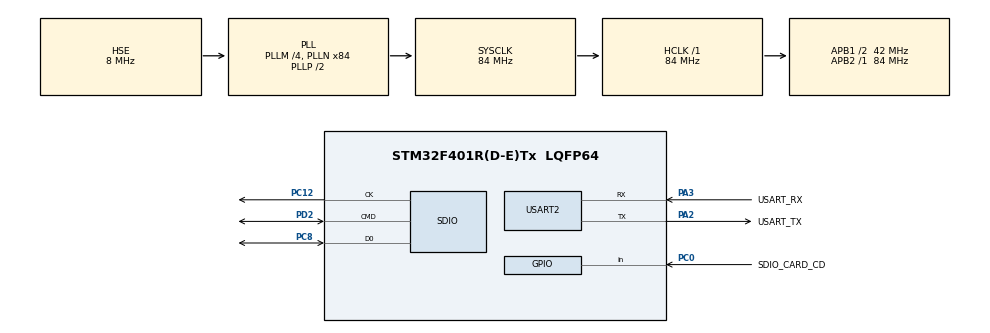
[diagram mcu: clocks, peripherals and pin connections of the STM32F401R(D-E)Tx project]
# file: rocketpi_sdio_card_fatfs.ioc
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Dma.Request0=SDIO_RX
Dma.Request1=SDIO_TX
Dma.SDIO_RX.0.Direction=DMA_PERIPH_TO_MEMORY
Dma.SDIO_RX.0.FIFOMode=DMA_FIFOMODE_ENABLE
Dma.SDIO_RX.0.FIFOThreshold=DMA_FIFO_THRESHOLD_FULL
Dma.SDIO_RX.0.Instance=DMA2_Stream3
Dma.SDIO_RX.0.MemBurst=DMA_MBURST_INC4
Dma.SDIO_RX.0.MemDataAlignment=DMA_MDATAALIGN_WORD
Dma.SDIO_RX.0.MemInc=DMA_MINC_ENABLE
Dma.SDIO_RX.0.Mode=DMA_PFCTRL
Dma.SDIO_RX.0.PeriphBurst=DMA_PBURST_INC4
Dma.SDIO_RX.0.PeriphDataAlignment=DMA_PDATAALIGN_WORD
Dma.SDIO_RX.0.PeriphInc=DMA_PINC_DISABLE
Dma.SDIO_RX.0.Priority=DMA_PRIORITY_LOW
Dma.SDIO_TX.1.Direction=DMA_MEMORY_TO_PERIPH
Dma.SDIO_TX.1.FIFOMode=DMA_FIFOMODE_ENABLE
Dma.SDIO_TX.1.FIFOThreshold=DMA_FIFO_THRESHOLD_FULL
Dma.SDIO_TX.1.Instance=DMA2_Stream6
Dma.SDIO_TX.1.MemBurst=DMA_MBURST_INC4
Dma.SDIO_TX.1.MemDataAlignment=DMA_MDATAALIGN_WORD
Dma.SDIO_TX.1.MemInc=DMA_MINC_ENABLE
Dma.SDIO_TX.1.Mode=DMA_PFCTRL
Dma.SDIO_TX.1.PeriphBurst=DMA_PBURST_INC4
Dma.SDIO_TX.1.PeriphDataAlignment=DMA_PDATAALIGN_WORD
Dma.SDIO_TX.1.PeriphInc=DMA_PINC_DISABLE
Dma.SDIO_TX.1.Priority=DMA_PRIORITY_LOW
FATFS.BSP.number=1
FATFS.USE_DMA_CODE_SD=1
FATFS0.BSP.STBoard=false
FATFS0.BSP.api=Unknown
FATFS0.BSP.instance=PC0
FATFS0.BSP.ip=GPIO
FATFS0.BSP.mode=Input
FATFS0.BSP.name=Detect_SDIO
FATFS0.BSP.solution=PC0
Mcu.Family=STM32F4
Mcu.Name=STM32F401R(D-E)Tx
Mcu.Package=LQFP64
NVIC.DMA2_Stream3_IRQn=true\:0\:0\:false\:false\:true\:false\:true\:true
NVIC.DMA2_Stream6_IRQn=true\:0\:0\:false\:false\:true\:false\:true\:true
NVIC.PriorityGroup=NVIC_PRIORITYGROUP_4
NVIC.SDIO_IRQn=true\:0\:0\:false\:false\:true\:true\:true\:true
PA13.GPIO_Label=TMS
PA13.Mode=Serial_Wire
PA13.Signal=SYS_JTMS-SWDIO
PA14.GPIO_Label=TCK
PA14.Mode=Serial_Wire
PA14.Signal=SYS_JTCK-SWCLK
PA2.GPIO_Label=USART_TX
PA2.GPIO_Mode=GPIO_MODE_AF_PP
PA2.GPIO_PuPd=GPIO_NOPULL
PA2.GPIO_Speed=GPIO_SPEED_FREQ_LOW
PA2.Mode=Asynchronous
PA2.Signal=USART2_TX
PA3.GPIO_Label=USART_RX
PA3.GPIO_Mode=GPIO_MODE_AF_PP
PA3.GPIO_PuPd=GPIO_NOPULL
PA3.GPIO_Speed=GPIO_SPEED_FREQ_LOW
PA3.Mode=Asynchronous
PA3.Signal=USART2_RX
PC0.GPIO_Label=SDIO_CARD_CD
PC0.Signal=GPIO_Input
PC12.GPIO_PuPd=GPIO_PULLUP
PC12.Mode=SD_1_bit
PC12.Signal=SDIO_CK
PC8.GPIO_PuPd=GPIO_PULLUP
PC8.Mode=SD_1_bit
PC8.Signal=SDIO_D0
PD2.GPIO_PuPd=GPIO_PULLUP
PD2.Mode=SD_1_bit
PD2.Signal=SDIO_CMD
PH0\ -\ OSC_IN.Mode=HSE-External-Oscillator
PH0\ -\ OSC_IN.Signal=RCC_OSC_IN
PH1\ -\ OSC_OUT.Mode=HSE-External-Oscillator
PH1\ -\ OSC_OUT.Signal=RCC_OSC_OUT
ProjectManager.HeapSize=0x1000
ProjectManager.StackSize=0x1000
ProjectManager.TargetToolchain=MDK-ARM V5.27
RCC.48MHZClocksFreq_Value=42000000
RCC.AHBFreq_Value=84000000
RCC.APB1CLKDivider=RCC_HCLK_DIV2
RCC.APB1Freq_Value=42000000
RCC.APB1TimFreq_Value=84000000
RCC.APB2Freq_Value=84000000
RCC.APB2TimFreq_Value=84000000
RCC.CortexFreq_Value=84000000
RCC.HCLKFreq_Value=84000000
RCC.HSE_VALUE=8000000
RCC.HSI_VALUE=16000000
RCC.LSE_VALUE=32768
RCC.PLLM=4
RCC.PLLN=84
RCC.PLLSourceVirtual=RCC_PLLSOURCE_HSE
RCC.RCC_TIM_PRescaler_Selection=RCC_TIMPRES_DESACTIVATED
RCC.SYSCLKFreq_VALUE=84000000
RCC.SYSCLKSource=RCC_SYSCLKSOURCE_PLLCLK
RCC.VCOOutputFreq_Value=168000000
SDIO.ClockDiv=0
USART2.VirtualMode=VM_ASYNC
VP_CRC_VS_CRC.Mode=CRC_Activate
VP_FATFS_VS_SDIO.Mode=SDIO
board=NUCLEO-F401RE

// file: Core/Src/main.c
/* USER CODE BEGIN Header */
/**
  ******************************************************************************
  * @file           : main.c
  * @brief          : Main program body
  ******************************************************************************
  * @attention
  *
  * Copyright (c) 2025 STMicroelectronics.
  * All rights reserved.
  *
  * This software is licensed under terms that can be found in the LICENSE file
  * in the root directory of this software component.
  * If no LICENSE file comes with this software, it is provided AS-IS.
  *
  ******************************************************************************
  */
/* USER CODE END Header */
#include "main.h"
#include "crc.h"
#include "dma.h"
#include "fatfs.h"
#include "sdio.h"
#include "usart.h"
#include "gpio.h"

/* USER CODE BEGIN Includes */
#include <stdio.h>
#include <string.h>
/* USER CODE END Includes */

/* USER CODE BEGIN PD */
#ifndef _USE_MKFS
#define _USE_MKFS 1
#endif

#if (_USE_MKFS == 1)
#define FATFS_MKFS_BUFFER_SIZE 4096U
#endif
#define FATFS_SPEED_TEST_BUFFER_SIZE 4096U
/* USER CODE END PD */

void SystemClock_Config(void);
/* USER CODE BEGIN PFP */
static void FATFS_Test(void);
static void FATFS_SpeedTest(uint32_t kilobytes);

/* USER CODE END PFP */

int main(void)
{

  /* MCU Configuration--------------------------------------------------------*/

  /* Reset of all peripherals, Initializes the Flash interface and the Systick. */
  HAL_Init();

  /* Configure the system clock */
  SystemClock_Config();

  /* Initialize all configured peripherals */
  MX_GPIO_Init();
  MX_DMA_Init();
  MX_USART2_UART_Init();
  MX_SDIO_SD_Init();
  MX_CRC_Init();
  MX_FATFS_Init();
  /* USER CODE BEGIN 2 */
  HAL_Delay(200);
  FATFS_Test();
  const uint32_t speed_test_kbytes = 512U;
  FATFS_SpeedTest(speed_test_kbytes);

  /* USER CODE END 2 */

  /* Infinite loop */
  while (1)
  {

  }
}

void SystemClock_Config(void)
{
  RCC_OscInitTypeDef RCC_OscInitStruct = {0};
  RCC_ClkInitTypeDef RCC_ClkInitStruct = {0};

  /** Configure the main internal regulator output voltage
  */
  __HAL_RCC_PWR_CLK_ENABLE();
  __HAL_PWR_VOLTAGESCALING_CONFIG(PWR_REGULATOR_VOLTAGE_SCALE2);

  /** Initializes the RCC Oscillators according to the specified parameters
  * in the RCC_OscInitTypeDef structure.
  */
  RCC_OscInitStruct.OscillatorType = RCC_OSCILLATORTYPE_HSE;
  RCC_OscInitStruct.HSEState = RCC_HSE_ON;
  RCC_OscInitStruct.PLL.PLLState = RCC_PLL_ON;
  RCC_OscInitStruct.PLL.PLLSource = RCC_PLLSOURCE_HSE;
  RCC_OscInitStruct.PLL.PLLM = 4;
  RCC_OscInitStruct.PLL.PLLN = 84;
  RCC_OscInitStruct.PLL.PLLP = RCC_PLLP_DIV2;
  RCC_OscInitStruct.PLL.PLLQ = 4;
  if (HAL_RCC_OscConfig(&RCC_OscInitStruct) != HAL_OK)
  {
    Error_Handler();
  }

  /** Initializes the CPU, AHB and APB buses clocks
  */
  RCC_ClkInitStruct.ClockType = RCC_CLOCKTYPE_HCLK|RCC_CLOCKTYPE_SYSCLK
                              |RCC_CLOCKTYPE_PCLK1|RCC_CLOCKTYPE_PCLK2;
  RCC_ClkInitStruct.SYSCLKSource = RCC_SYSCLKSOURCE_PLLCLK;
  RCC_ClkInitStruct.AHBCLKDivider = RCC_SYSCLK_DIV1;
  RCC_ClkInitStruct.APB1CLKDivider = RCC_HCLK_DIV2;
  RCC_ClkInitStruct.APB2CLKDivider = RCC_HCLK_DIV1;

  if (HAL_RCC_ClockConfig(&RCC_ClkInitStruct, FLASH_LATENCY_2) != HAL_OK)
  {
    Error_Handler();
  }
}

/* USER CODE BEGIN 4 */
static void FATFS_SpeedTest(uint32_t kilobytes)
{
  const char speed_file[] = "sd_speed.bin";
  FRESULT res;
  UINT bytes_io = 0U;
  uint32_t total_bytes = 0U;
  uint32_t remaining = 0U;
  uint32_t start_tick = 0U;
  uint32_t elapsed_ms = 0U;
  uint32_t speed_kbs = 0U;
  uint8_t is_mounted = 0U;
  uint8_t file_opened = 0U;
  uint8_t file_created = 0U;
  static uint8_t transfer_buffer[FATFS_SPEED_TEST_BUFFER_SIZE];

  if (kilobytes == 0U)
  {
    printf("fatfs speed test: size parameter must be > 0\r\n");
    return;
  }

  if (kilobytes > (UINT32_MAX / 1024U))
  {
    printf("fatfs speed test: size too large\r\n");
    return;
  }

  total_bytes = kilobytes * 1024U;

  for (uint32_t i = 0U; i < sizeof(transfer_buffer); ++i)
  {
    transfer_buffer[i] = (uint8_t)(i & 0xFFU);
  }

  printf("fatfs speed test: mounting %s\r\n", SDPath);
  res = f_mount(&SDFatFS, (TCHAR const*)SDPath, 1);
  if (res != FR_OK)
  {
    printf("fatfs speed test: mount failed (%d)\r\n", (int)res);
    return;
  }
  is_mounted = 1U;

  res = f_open(&SDFile, speed_file, FA_CREATE_ALWAYS | FA_WRITE);
  if (res != FR_OK)
  {
    printf("fatfs speed test: open for write failed (%d)\r\n", (int)res);
    goto cleanup;
  }
  file_opened = 1U;
  file_created = 1U;

  printf("fatfs speed test: writing %lu KB\r\n", (unsigned long)kilobytes);
  remaining = total_bytes;
  start_tick = HAL_GetTick();
  while (remaining > 0U)
  {
    uint32_t chunk = (remaining > sizeof(transfer_buffer)) ? (uint32_t)sizeof(transfer_buffer) : remaining;
    res = f_write(&SDFile, transfer_buffer, chunk, &bytes_io);
    if ((res != FR_OK) || (bytes_io != chunk))
    {
      printf("fatfs speed test: write error (%d)\r\n", (int)res);
      goto cleanup;
    }
    remaining -= chunk;
  }

  res = f_sync(&SDFile);
  if (res != FR_OK)
  {
    printf("fatfs speed test: sync failed (%d)\r\n", (int)res);
    goto cleanup;
  }
  elapsed_ms = HAL_GetTick() - start_tick;
  speed_kbs = (elapsed_ms > 0U) ? (uint32_t)(((uint64_t)total_bytes * 1000ULL) / ((uint64_t)elapsed_ms * 1024ULL)) : 0U;
  printf("fatfs speed test: write done in %lu ms (%lu KB/s)\r\n",
         (unsigned long)elapsed_ms, (unsigned long)speed_kbs);

  f_close(&SDFile);
  file_opened = 0U;

  res = f_open(&SDFile, speed_file, FA_READ);
  if (res != FR_OK)
  {
    printf("fatfs speed test: open for read failed (%d)\r\n", (int)res);
    goto cleanup;
  }
  file_opened = 1U;

  printf("fatfs speed test: reading %lu KB\r\n", (unsigned long)kilobytes);
  remaining = total_bytes;
  start_tick = HAL_GetTick();
  while (remaining > 0U)
  {
    uint32_t chunk = (remaining > sizeof(transfer_buffer)) ? (uint32_t)sizeof(transfer_buffer) : remaining;
    res = f_read(&SDFile, transfer_buffer, chunk, &bytes_io);
    if (res != FR_OK)
    {
      printf("fatfs speed test: read error (%d)\r\n", (int)res);
      goto cleanup;
    }
    if (bytes_io == 0U)
    {
      printf("fatfs speed test: unexpected end of file\r\n");
      goto cleanup;
    }
    remaining -= bytes_io;
  }
  elapsed_ms = HAL_GetTick() - start_tick;
  speed_kbs = (elapsed_ms > 0U) ? (uint32_t)(((uint64_t)total_bytes * 1000ULL) / ((uint64_t)elapsed_ms * 1024ULL)) : 0U;
  printf("fatfs speed test: read done in %lu ms (%lu KB/s)\r\n",
         (unsigned long)elapsed_ms, (unsigned long)speed_kbs);

  f_close(&SDFile);
  file_opened = 0U;

  printf("fatfs speed test: removing %s\r\n", speed_file);
  res = f_unlink(speed_file);
  if (res == FR_OK)
  {
    file_created = 0U;
  }
  else
  {
    printf("fatfs speed test: remove failed (%d)\r\n", (int)res);
  }

cleanup:
  if (file_opened)
  {
    f_close(&SDFile);
  }

  if (is_mounted && file_created)
  {
    FRESULT unlink_res = f_unlink(speed_file);
    if (unlink_res != FR_OK)
    {
      printf("fatfs speed test: cleanup remove %s failed (%d)\r\n", speed_file, (int)unlink_res);
    }
  }

  if (is_mounted)
  {
    f_mount(NULL, (TCHAR const*)SDPath, 0);
    printf("fatfs speed test: unmounted\r\n");
  }
}

static void FATFS_Test(void)
{
  const char test_file[] = "rocketpi.txt";
  const char test_payload[] = "RocketPi FATFS SDIO write/read demo.\r\n";
  char read_buffer[sizeof(test_payload)] = {0};
  const UINT payload_len = (UINT)strlen(test_payload);
  UINT bytes_written = 0;
  UINT bytes_read = 0;
  FRESULT res;
  uint8_t is_mounted = 0;
  uint8_t file_opened = 0;

  printf("fatfs: mounting %s\r\n", SDPath);
  res = f_mount(&SDFatFS, (TCHAR const*)SDPath, 1);
  if (res == FR_OK)
  {
    is_mounted = 1;
  }
  else if (res == FR_NO_FILESYSTEM)
  {
#if (_USE_MKFS == 1)
#if (FATFS_MKFS_BUFFER_SIZE < 1024U)
#error "FATFS_MKFS_BUFFER_SIZE must be >= 1024 bytes"
#endif
    static uint8_t mkfs_work[FATFS_MKFS_BUFFER_SIZE];

    printf("fatfs: no filesystem, formatting...\r\n");
    res = f_mkfs((TCHAR const*)SDPath, FM_ANY, 0, mkfs_work, sizeof(mkfs_work));
    if (res != FR_OK)
    {
      printf("fatfs: format failed (%d)\r\n", (int)res);
      return;
    }

    printf("fatfs: format complete, remounting\r\n");
    res = f_mount(&SDFatFS, (TCHAR const*)SDPath, 1);
    if (res != FR_OK)
    {
      printf("fatfs: mount after format failed (%d)\r\n", (int)res);
      return;
    }
    is_mounted = 1;
#else
    printf("fatfs: no filesystem and mkfs disabled\r\n");
    return;
#endif
  }
  else
  {
    printf("fatfs: mount failed (%d)\r\n", (int)res);
    return;
  }

  printf("fatfs: creating %s\r\n", test_file);
  res = f_open(&SDFile, test_file, FA_CREATE_ALWAYS | FA_WRITE);
  if (res != FR_OK)
  {
    printf("fatfs: open for write failed (%d)\r\n", (int)res);
    goto cleanup;
  }
  file_opened = 1;

  res = f_write(&SDFile, test_payload, payload_len, &bytes_written);
  if ((res != FR_OK) || (bytes_written != payload_len))
  {
    printf("fatfs: write failed (%d)\r\n", (int)res);
    goto cleanup;
  }
  printf("fatfs: wrote %lu bytes\r\n", (unsigned long)bytes_written);

  f_close(&SDFile);
  file_opened = 0;

  res = f_open(&SDFile, test_file, FA_READ);
  if (res != FR_OK)
  {
    printf("fatfs: open for read failed (%d)\r\n", (int)res);
    goto cleanup;
  }
  file_opened = 1;

  memset(read_buffer, 0, sizeof(read_buffer));
  res = f_read(&SDFile, read_buffer, sizeof(read_buffer) - 1, &bytes_read);
  if (res != FR_OK)
  {
    printf("fatfs: read failed (%d)\r\n", (int)res);
    goto cleanup;
  }
  printf("fatfs: read %lu bytes\r\n", (unsigned long)bytes_read);

  f_close(&SDFile);
  file_opened = 0;

  if ((bytes_read == bytes_written) && (strncmp(read_buffer, test_payload, payload_len) == 0))
  {
    printf("fatfs: verification OK\r\n");
    printf("fatfs: content: %s", read_buffer);
  }
  else
  {
    printf("fatfs: verification failed\r\n");
  }

cleanup:
  if (file_opened)
  {
    f_close(&SDFile);
  }

  if (is_mounted)
  {
    f_mount(NULL, (TCHAR const*)SDPath, 0);
    printf("fatfs: unmounted\r\n");
  }
}

/* USER CODE END 4 */

void Error_Handler(void)
{
  __disable_irq();
  while (1)
  {
  }
}
